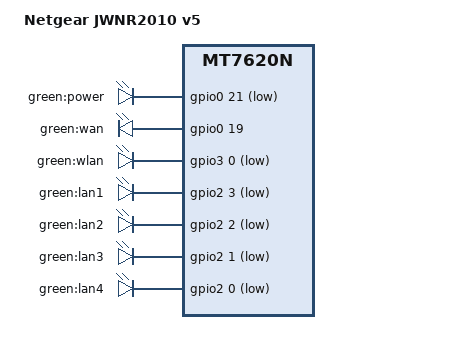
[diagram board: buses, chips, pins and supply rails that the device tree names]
// SPDX-License-Identifier: GPL-2.0-or-later OR MIT

#include "mt7620n_netgear_n300.dtsi"

/ {
	compatible = "netgear,jwnr2010-v5", "ralink,mt7620n-soc";
	model = "Netgear JWNR2010 v5";

	aliases {
		led-boot = &led_power;
		led-failsafe = &led_power;
		led-running = &led_power;
		led-upgrade = &led_power;
		label-mac-device = &ethernet;
	};

	leds {
		compatible = "gpio-leds";

		led_power: power {
			label = "green:power";
			gpios = <&gpio0 21 GPIO_ACTIVE_LOW>;
		};

		wan {
			label = "green:wan";
			gpios = <&gpio0 19 GPIO_ACTIVE_HIGH>;
		};

		wlan {
			label = "green:wlan";
			gpios = <&gpio3 0 GPIO_ACTIVE_LOW>;
			linux,default-trigger = "phy0radio";
		};

		lan1 {
			label = "green:lan1";
			gpios = <&gpio2 3 GPIO_ACTIVE_LOW>;
		};

		lan2 {
			label = "green:lan2";
			gpios = <&gpio2 2 GPIO_ACTIVE_LOW>;
		};

		lan3 {
			label = "green:lan3";
			gpios = <&gpio2 1 GPIO_ACTIVE_LOW>;
		};

		lan4 {
			label = "green:lan4";
			gpios = <&gpio2 0 GPIO_ACTIVE_LOW>;
		};
	};
};
